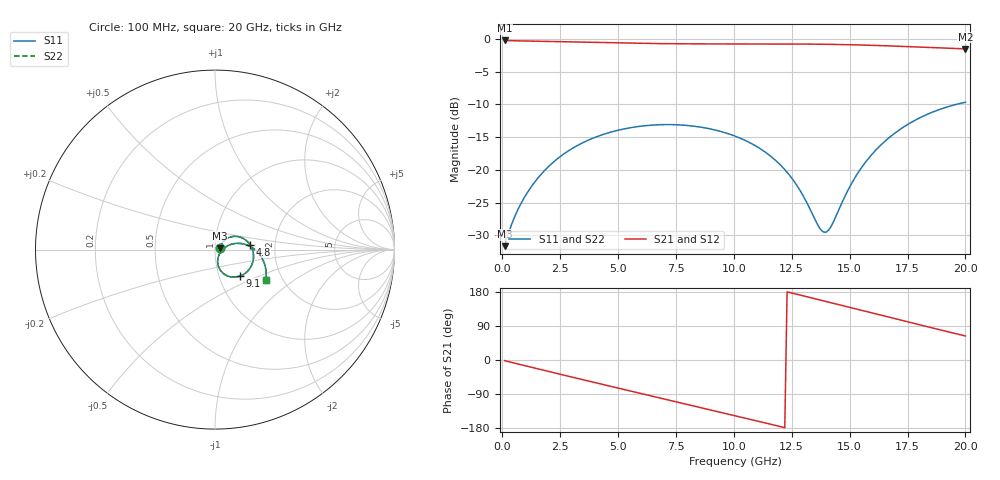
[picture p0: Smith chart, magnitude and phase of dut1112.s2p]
! Touchstone file exported from HFSS 2026.1.0
!  File:  C:/ffzhzh/LocalFiles/Ansys_Project_Files/temp_train_TSV_RDL_1112_1783305102_5512.aedt
!  Generated:  10:40:42 AM Jul  6, 2026
!  Design:  TSV_RDL
!  Project:  temp_train_TSV_RDL_1112_1783305102_5512
! Variables:
!  h_bsmrdl = 3.73um
!  h_ox = 20um
!  h_rdl = 5um
!  h_sub = 83.37um
!  h_tmrdl = 4.29um
!  h_tsv = 83.37um
!  h_via = 3um
!  l_bsmrdl = 650.84um
!  l_sub = 4351.83um
!  l_tmrdl = 471.65um
!  m_sub = 200um
!  pitch = 31um
!  r_tsv = 11.67um
!  s_tmrdl = 10um
!  w_bsmrdl = 10.21um
!  w_sub = 500um
!  w_tmrdl = 27.36um
!  x_tsv_center1 = 485.33um
!  x_tsv_center2 = 1146.38um
!  x_tsv_center3 = 1645.39um
!  x_tsv_center4 = 2306.44um
!  x_tsv_center5 = 2805.45um
!  x_tsv_center6 = 3466.5um
# GHz S MA R 50.000000
! Terminal data exported
! Port[1] = TM_RDL1_1_T1
! Port[2] = TM_RDL5_1_T1
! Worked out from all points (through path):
!   200 points, 100 MHz to 20 GHz, reference 50 ohm
!   highest |S21| = -0.22 dB at 100 MHz (marker M1); lowest = -1.5 dB at 20 GHz (marker M2)
!   group delay of S21, straight-line fit = 41 ps
!   lowest |S11| = -31.6 dB at 100 MHz (marker M3), VSWR 1.05, Z = 52.6 + j0.72 ohm
!   |S11| at or under -10 dB: start of sweep to 19.59 GHz
!   |S22| runs from -31.6 to -9.7 dB; largest |S21 - S12| = 3.7e-14
!   S11 on the Smith chart (normalised r, x): 100 MHz: 1.05, +0.01; 4.8 GHz: 1.48, +0.08; 9.1 GHz: 1.26, -0.39; 20 GHz: 1.64, -0.62
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0.1  0.02617 15.2  0.9749 -1.7  0.9749 -1.7  0.02617 15.2
! Gamma 0 0 0 0
! Port Impedance 50 0 50 0
0.6  0.04667 39.6  0.9687 -9.3  0.9687 -9.3  0.04667 39.6
1.4  0.08081 43.7  0.9627 -21.3  0.9627 -21.3  0.08082 43.7
2.3  0.1185 37.5  0.9558 -34.7  0.9558 -34.7  0.1186 37.5
3.5  0.1621 24.2  0.9455 -52.3  0.9455 -52.3  0.1622 24.2
4.8  0.1969 8.0  0.9347 -71.2  0.9347 -71.2  0.1969 8.0
5.8  0.2138 -4.7  0.9278 -85.6  0.9278 -85.6  0.2138 -4.7
6.8  0.2215 -17.5  0.9225 -99.9  0.9225 -99.9  0.2215 -17.5
7.9  0.2193 -31.4  0.9188 -115.7  0.9188 -115.7  0.2193 -31.4
9.1  0.2036 -46.3  0.917 -133.0  0.917 -133.0  0.2036 -46.3
10.1  0.1799 -58.2  0.9168 -147.6  0.9168 -147.6  0.1799 -58.2
11.1  0.1468 -69.2  0.9169 -162.3  0.9169 -162.3  0.1468 -69.1
12  0.1096 -76.8  0.9167 -175.6  0.9167 -175.6  0.1096 -76.8
12.7  0.07726 -78.6  0.9158 173.9  0.9158 173.9  0.07729 -78.5
13.4  0.04571 -67.1  0.9139 163.3  0.9139 163.3  0.04584 -66.8
13.8  0.03427 -42.9  0.9123 157.2  0.9123 157.2  0.0345 -42.7
14.1  0.03482 -16.8  0.9107 152.6  0.9107 152.6  0.0351 -16.9
15.4  0.09741 18.1  0.9009 132.8  0.9009 132.8  0.09759 17.8
16.7  0.1761 8.9  0.8861 112.9  0.8861 112.9  0.1762 8.8
17.5  0.222 0.1  0.8751 100.8  0.8751 100.8  0.2221 -0.1
18.3  0.2634 -9.5  0.8635 88.7  0.8635 88.7  0.2635 -9.7
20  0.3285 -30.9  0.8412 63.3  0.8412 63.3  0.3286 -31.0
